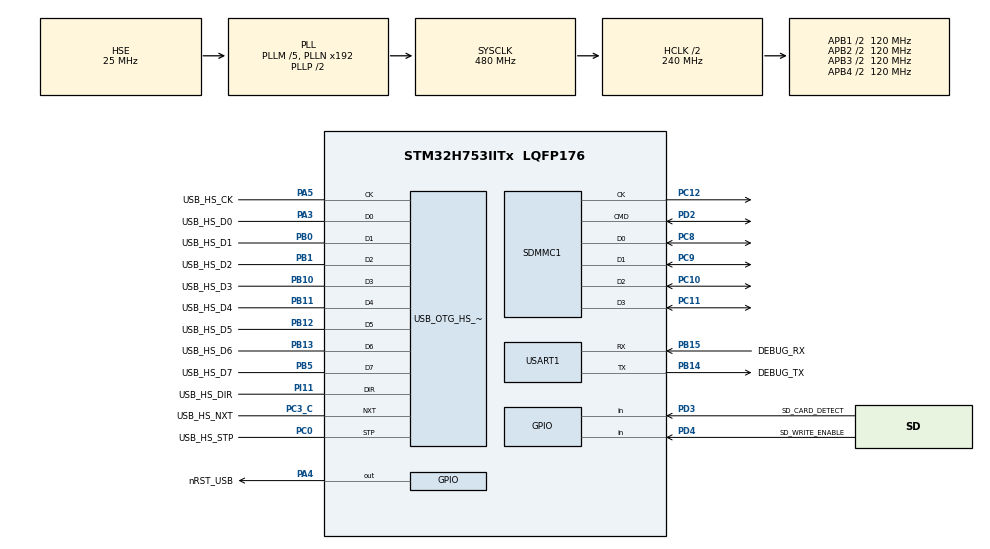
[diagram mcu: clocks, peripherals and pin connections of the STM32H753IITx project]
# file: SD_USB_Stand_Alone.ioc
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FATFS.BSP.number=1
FATFS.USE_DMA_CODE_SD=1
FATFS._FS_LOCK=5
FATFS._USE_FASTSEEK=0
FATFS._USE_FIND=1
FATFS._USE_LFN=2
FATFS._USE_STRFUNC=0
FATFS0.BSP.STBoard=false
FATFS0.BSP.api=Unknown
FATFS0.BSP.instance=PD3
FATFS0.BSP.ip=GPIO
FATFS0.BSP.mode=Input
FATFS0.BSP.name=Detect_SDIO
FATFS0.BSP.solution=PD3
Mcu.Family=STM32H7
Mcu.Name=STM32H753IITx
Mcu.Package=LQFP176
NVIC.OTG_HS_IRQn=true\:0\:0\:false\:false\:true\:true\:true\:true
NVIC.PriorityGroup=NVIC_PRIORITYGROUP_4
NVIC.SDMMC1_IRQn=true\:0\:0\:false\:false\:true\:true\:true\:true
PA13\ (JTMS/SWDIO).Mode=Serial_Wire
PA13\ (JTMS/SWDIO).Signal=DEBUG_JTMS-SWDIO
PA14\ (JTCK/SWCLK).Mode=Serial_Wire
PA14\ (JTCK/SWCLK).Signal=DEBUG_JTCK-SWCLK
PA3.GPIO_Label=USB_HS_D0
PA3.GPIO_Speed_Only_High=GPIO_SPEED_FREQ_VERY_HIGH
PA3.Mode=Device_HS
PA3.Signal=USB_OTG_HS_ULPI_D0
PA4.GPIO_Label=nRST_USB
PA4.PinState=GPIO_PIN_SET
PA4.Signal=GPIO_Output
PA5.GPIO_Label=USB_HS_CK
PA5.GPIO_Speed_Only_High=GPIO_SPEED_FREQ_VERY_HIGH
PA5.Mode=Device_HS
PA5.Signal=USB_OTG_HS_ULPI_CK
PB0.GPIO_Label=USB_HS_D1
PB0.GPIO_Speed_Only_High=GPIO_SPEED_FREQ_VERY_HIGH
PB0.Mode=Device_HS
PB0.Signal=USB_OTG_HS_ULPI_D1
PB1.GPIO_Label=USB_HS_D2
PB1.GPIO_Speed_Only_High=GPIO_SPEED_FREQ_VERY_HIGH
PB1.Mode=Device_HS
PB1.Signal=USB_OTG_HS_ULPI_D2
PB10.GPIO_Label=USB_HS_D3
PB10.GPIO_Speed_Only_High=GPIO_SPEED_FREQ_VERY_HIGH
PB10.Mode=Device_HS
PB10.Signal=USB_OTG_HS_ULPI_D3
PB11.GPIO_Label=USB_HS_D4
PB11.GPIO_Speed_Only_High=GPIO_SPEED_FREQ_VERY_HIGH
PB11.Mode=Device_HS
PB11.Signal=USB_OTG_HS_ULPI_D4
PB12.GPIO_Label=USB_HS_D5
PB12.GPIO_Speed_Only_High=GPIO_SPEED_FREQ_VERY_HIGH
PB12.Mode=Device_HS
PB12.Signal=USB_OTG_HS_ULPI_D5
PB13.GPIO_Label=USB_HS_D6
PB13.GPIO_Speed_Only_High=GPIO_SPEED_FREQ_VERY_HIGH
PB13.Mode=Device_HS
PB13.Signal=USB_OTG_HS_ULPI_D6
PB14.GPIO_Label=DEBUG_TX
PB14.Mode=Asynchronous
PB14.Signal=USART1_TX
PB15.GPIO_Label=DEBUG_RX
PB15.Mode=Asynchronous
PB15.Signal=USART1_RX
PB5.GPIO_Label=USB_HS_D7
PB5.GPIO_Speed_Only_High=GPIO_SPEED_FREQ_VERY_HIGH
PB5.Mode=Device_HS
PB5.Signal=USB_OTG_HS_ULPI_D7
PC0.GPIO_Label=USB_HS_STP
PC0.GPIO_Speed_Only_High=GPIO_SPEED_FREQ_VERY_HIGH
PC0.Mode=Device_HS
PC0.Signal=USB_OTG_HS_ULPI_STP
PC10.GPIO_PuPd=GPIO_PULLUP
PC10.Mode=SD_4_bits_Wide_bus
PC10.Signal=SDMMC1_D2
PC11.GPIO_PuPd=GPIO_PULLUP
PC11.Mode=SD_4_bits_Wide_bus
PC11.Signal=SDMMC1_D3
PC12.Mode=SD_4_bits_Wide_bus
PC12.Signal=SDMMC1_CK
PC14-OSC32_IN\ (OSC32_IN).Mode=LSE-External-Oscillator
PC14-OSC32_IN\ (OSC32_IN).Signal=RCC_OSC32_IN
PC15-OSC32_OUT\ (OSC32_OUT).Mode=LSE-External-Oscillator
PC15-OSC32_OUT\ (OSC32_OUT).Signal=RCC_OSC32_OUT
PC3_C.GPIO_Label=USB_HS_NXT
PC3_C.GPIO_Speed_Only_High=GPIO_SPEED_FREQ_VERY_HIGH
PC3_C.Mode=Device_HS
PC3_C.Signal=USB_OTG_HS_ULPI_NXT
PC8.GPIO_PuPd=GPIO_PULLUP
PC8.Mode=SD_4_bits_Wide_bus
PC8.Signal=SDMMC1_D0
PC9.GPIO_PuPd=GPIO_PULLUP
PC9.Mode=SD_4_bits_Wide_bus
PC9.Signal=SDMMC1_D1
PD2.GPIO_PuPd=GPIO_PULLUP
PD2.Mode=SD_4_bits_Wide_bus
PD2.Signal=SDMMC1_CMD
PD3.GPIO_Label=SD_CARD_DETECT
PD3.Signal=GPIO_Input
PD4.GPIO_Label=SD_WRITE_ENABLE
PD4.Signal=GPIO_Input
PH0-OSC_IN\ (PH0).Mode=HSE-External-Oscillator
PH0-OSC_IN\ (PH0).Signal=RCC_OSC_IN
PH1-OSC_OUT\ (PH1).Mode=HSE-External-Oscillator
PH1-OSC_OUT\ (PH1).Signal=RCC_OSC_OUT
PI11.GPIO_Label=USB_HS_DIR
PI11.GPIO_Speed_Only_High=GPIO_SPEED_FREQ_VERY_HIGH
PI11.Mode=Device_HS
PI11.Signal=USB_OTG_HS_ULPI_DIR
ProjectManager.HeapSize=0x1000
ProjectManager.StackSize=0x1000
ProjectManager.TargetToolchain=STM32CubeIDE
RCC.ADCFreq_Value=400000000
RCC.APB1Freq_Value=120000000
RCC.APB2Freq_Value=120000000
RCC.APB3Freq_Value=120000000
RCC.APB4Freq_Value=120000000
RCC.CortexFreq_Value=480000000
RCC.D1PPRE=RCC_APB3_DIV2
RCC.D2PPRE1=RCC_APB1_DIV2
RCC.D2PPRE2=RCC_APB2_DIV2
RCC.D3PPRE=RCC_APB4_DIV2
RCC.DIVM1=5
RCC.DIVM2=4
RCC.DIVM3=25
RCC.DIVN1=192
RCC.DIVN2=128
RCC.DIVN3=408
RCC.DIVQ1=6
RCC.DIVQ2=10
RCC.DIVQ3=5
RCC.DIVR2=4
RCC.HCLKFreq_Value=240000000
RCC.HPRE=RCC_HCLK_DIV2
RCC.PLLSourceVirtual=RCC_PLLSOURCE_HSE
RCC.PWR_Regulator_Voltage_Scale=PWR_REGULATOR_VOLTAGE_SCALE0
RCC.SDMMC1CLockSelection=RCC_SDMMCCLKSOURCE_PLL2
RCC.SYSCLKFreq_VALUE=480000000
RCC.SYSCLKSource=RCC_SYSCLKSOURCE_PLLCLK
RCC.USBCLockSelection=RCC_USBCLKSOURCE_HSI48
RCC.USBFreq_Value=48000000
SDMMC1.ClockDiv=1
USART1.VirtualMode-Asynchronous=VM_ASYNC
USB_DEVICE.CLASS_NAME_HS=MSC
USB_DEVICE.VirtualMode-MSC_HS=Msc
USB_DEVICE.VirtualModeHS=Msc_HS
USB_OTG_HS.VirtualMode-Device_HS=Device_HS
VP_FATFS_VS_SDIO.Mode=SDIO
VP_MEMORYMAP_VS_MEMORYMAP.Mode=CurAppReg
VP_USB_DEVICE_VS_USB_DEVICE_MSC_HS.Mode=MSC_HS
board=custom

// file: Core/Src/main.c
/* USER CODE BEGIN Header */
/**
  ******************************************************************************
  * @file           : main.c
  * @brief          : Main program body
  ******************************************************************************
  * @attention
  *
  * Copyright (c) 2025 STMicroelectronics.
  * All rights reserved.
  *
  * This software is licensed under terms that can be found in the LICENSE file
  * in the root directory of this software component.
  * If no LICENSE file comes with this software, it is provided AS-IS.
  *
  ******************************************************************************
  */
/* USER CODE END Header */
#include "main.h"
#include "fatfs.h"
#include "usb_device.h"

/* USER CODE BEGIN Includes */
#include "sd_card.h"
/* USER CODE END Includes */

/* USER CODE BEGIN PD */
#define LOG_MODULE "MAIN"
/* USER CODE END PD */

SD_HandleTypeDef hsd1;

UART_HandleTypeDef huart1;

void SystemClock_Config(void);
static void MX_GPIO_Init(void);
static void MX_SDMMC1_SD_Init(void);
static void MX_USART1_UART_Init(void);

int main(void)
{

  /* MCU Configuration--------------------------------------------------------*/

  /* Reset of all peripherals, Initializes the Flash interface and the Systick. */
  HAL_Init();

  /* Configure the system clock */
  SystemClock_Config();

  /* USER CODE BEGIN SysInit */
#if 0
  /* USER CODE END SysInit */

  /* Initialize all configured peripherals */
  MX_GPIO_Init();
  MX_SDMMC1_SD_Init();
  MX_USART1_UART_Init();
  MX_FATFS_Init();
  MX_USB_DEVICE_Init();
  /* USER CODE BEGIN 2 */
#endif
  MX_GPIO_Init();
  MX_SDMMC1_SD_Init();
  MX_USART1_UART_Init();

  E_Error err = ERR_SUCCESS;

  err = LOG_Init(&huart1, E_LOGSEV_DEBUG);
  if (err != ERR_SUCCESS)
  {
  	LOG_Send(LOG_MODULE, E_LOGSEV_ERROR, "%s: LOG_Init Failed: %s", __func__, ERROR_ErrToStr(err));
  }

  err = SD_CARD_LinkDriver();
  if (err != ERR_SUCCESS)
  {
    LOG_Send(LOG_MODULE, E_LOGSEV_ERROR, "%s: SD_CARD_LinkDriver Failed: %s", __func__, ERROR_ErrToStr(err));
  }

  if (1 /*SD_CARD_GetState() != SD_CARD_STATE_LOCK_USBMSC*/)
  {
    err = SD_CARD_InitCard();
    if (err != ERR_SUCCESS)
    {
      LOG_Send(LOG_MODULE, E_LOGSEV_ERROR, "%s: SD_CARD_Init Failed: %s", __func__, ERROR_ErrToStr(err));
    }
  }

  SD_CARD_Deinit();

  MX_USB_DEVICE_Init();
  /* USER CODE END 2 */

  /* Infinite loop */
  while (1)
  {

  }
}

void SystemClock_Config(void)
{
  RCC_OscInitTypeDef RCC_OscInitStruct = {0};
  RCC_ClkInitTypeDef RCC_ClkInitStruct = {0};

  /** Supply configuration update enable
  */
  HAL_PWREx_ConfigSupply(PWR_LDO_SUPPLY);

  /** Configure the main internal regulator output voltage
  */
  __HAL_PWR_VOLTAGESCALING_CONFIG(PWR_REGULATOR_VOLTAGE_SCALE0);

  while(!__HAL_PWR_GET_FLAG(PWR_FLAG_VOSRDY)) {}

  /** Initializes the RCC Oscillators according to the specified parameters
  * in the RCC_OscInitTypeDef structure.
  */
  RCC_OscInitStruct.OscillatorType = RCC_OSCILLATORTYPE_HSI48|RCC_OSCILLATORTYPE_HSE;
  RCC_OscInitStruct.HSEState = RCC_HSE_ON;
  RCC_OscInitStruct.HSI48State = RCC_HSI48_ON;
  RCC_OscInitStruct.PLL.PLLState = RCC_PLL_ON;
  RCC_OscInitStruct.PLL.PLLSource = RCC_PLLSOURCE_HSE;
  RCC_OscInitStruct.PLL.PLLM = 5;
  RCC_OscInitStruct.PLL.PLLN = 192;
  RCC_OscInitStruct.PLL.PLLP = 2;
  RCC_OscInitStruct.PLL.PLLQ = 6;
  RCC_OscInitStruct.PLL.PLLR = 2;
  RCC_OscInitStruct.PLL.PLLRGE = RCC_PLL1VCIRANGE_2;
  RCC_OscInitStruct.PLL.PLLVCOSEL = RCC_PLL1VCOWIDE;
  RCC_OscInitStruct.PLL.PLLFRACN = 0;
  if (HAL_RCC_OscConfig(&RCC_OscInitStruct) != HAL_OK)
  {
    Error_Handler();
  }

  /** Initializes the CPU, AHB and APB buses clocks
  */
  RCC_ClkInitStruct.ClockType = RCC_CLOCKTYPE_HCLK|RCC_CLOCKTYPE_SYSCLK
                              |RCC_CLOCKTYPE_PCLK1|RCC_CLOCKTYPE_PCLK2
                              |RCC_CLOCKTYPE_D3PCLK1|RCC_CLOCKTYPE_D1PCLK1;
  RCC_ClkInitStruct.SYSCLKSource = RCC_SYSCLKSOURCE_PLLCLK;
  RCC_ClkInitStruct.SYSCLKDivider = RCC_SYSCLK_DIV1;
  RCC_ClkInitStruct.AHBCLKDivider = RCC_HCLK_DIV2;
  RCC_ClkInitStruct.APB3CLKDivider = RCC_APB3_DIV2;
  RCC_ClkInitStruct.APB1CLKDivider = RCC_APB1_DIV2;
  RCC_ClkInitStruct.APB2CLKDivider = RCC_APB2_DIV2;
  RCC_ClkInitStruct.APB4CLKDivider = RCC_APB4_DIV2;

  if (HAL_RCC_ClockConfig(&RCC_ClkInitStruct, FLASH_LATENCY_4) != HAL_OK)
  {
    Error_Handler();
  }
}

static void MX_SDMMC1_SD_Init(void)
{

  hsd1.Instance = SDMMC1;
  hsd1.Init.ClockEdge = SDMMC_CLOCK_EDGE_RISING;
  hsd1.Init.ClockPowerSave = SDMMC_CLOCK_POWER_SAVE_DISABLE;
  hsd1.Init.BusWide = SDMMC_BUS_WIDE_4B;
  hsd1.Init.HardwareFlowControl = SDMMC_HARDWARE_FLOW_CONTROL_DISABLE;
  hsd1.Init.ClockDiv = 1;

}

static void MX_USART1_UART_Init(void)
{

  huart1.Instance = USART1;
  huart1.Init.BaudRate = 115200;
  huart1.Init.WordLength = UART_WORDLENGTH_8B;
  huart1.Init.StopBits = UART_STOPBITS_1;
  huart1.Init.Parity = UART_PARITY_NONE;
  huart1.Init.Mode = UART_MODE_TX_RX;
  huart1.Init.HwFlowCtl = UART_HWCONTROL_NONE;
  huart1.Init.OverSampling = UART_OVERSAMPLING_16;
  huart1.Init.OneBitSampling = UART_ONE_BIT_SAMPLE_DISABLE;
  huart1.Init.ClockPrescaler = UART_PRESCALER_DIV1;
  huart1.AdvancedInit.AdvFeatureInit = UART_ADVFEATURE_NO_INIT;
  if (HAL_UART_Init(&huart1) != HAL_OK)
  {
    Error_Handler();
  }
  if (HAL_UARTEx_SetTxFifoThreshold(&huart1, UART_TXFIFO_THRESHOLD_1_8) != HAL_OK)
  {
    Error_Handler();
  }
  if (HAL_UARTEx_SetRxFifoThreshold(&huart1, UART_RXFIFO_THRESHOLD_1_8) != HAL_OK)
  {
    Error_Handler();
  }
  if (HAL_UARTEx_DisableFifoMode(&huart1) != HAL_OK)
  {
    Error_Handler();
  }

}

static void MX_GPIO_Init(void)
{
  GPIO_InitTypeDef GPIO_InitStruct = {0};

  /* GPIO Ports Clock Enable */
  __HAL_RCC_GPIOC_CLK_ENABLE();
  __HAL_RCC_GPIOI_CLK_ENABLE();
  __HAL_RCC_GPIOH_CLK_ENABLE();
  __HAL_RCC_GPIOA_CLK_ENABLE();
  __HAL_RCC_GPIOB_CLK_ENABLE();
  __HAL_RCC_GPIOD_CLK_ENABLE();

  /*Configure GPIO pin Output Level */
  HAL_GPIO_WritePin(nRST_USB_GPIO_Port, nRST_USB_Pin, GPIO_PIN_SET);

  /*Configure GPIO pin : nRST_USB_Pin */
  GPIO_InitStruct.Pin = nRST_USB_Pin;
  GPIO_InitStruct.Mode = GPIO_MODE_OUTPUT_PP;
  GPIO_InitStruct.Pull = GPIO_NOPULL;
  GPIO_InitStruct.Speed = GPIO_SPEED_FREQ_LOW;
  HAL_GPIO_Init(nRST_USB_GPIO_Port, &GPIO_InitStruct);

  /*Configure GPIO pins : SD_CARD_DETECT_Pin SD_WRITE_ENABLE_Pin */
  GPIO_InitStruct.Pin = SD_CARD_DETECT_Pin|SD_WRITE_ENABLE_Pin;
  GPIO_InitStruct.Mode = GPIO_MODE_INPUT;
  GPIO_InitStruct.Pull = GPIO_NOPULL;
  HAL_GPIO_Init(GPIOD, &GPIO_InitStruct);

}

void Error_Handler(void)
{
  __disable_irq();
  while (1)
  {
  }
}
